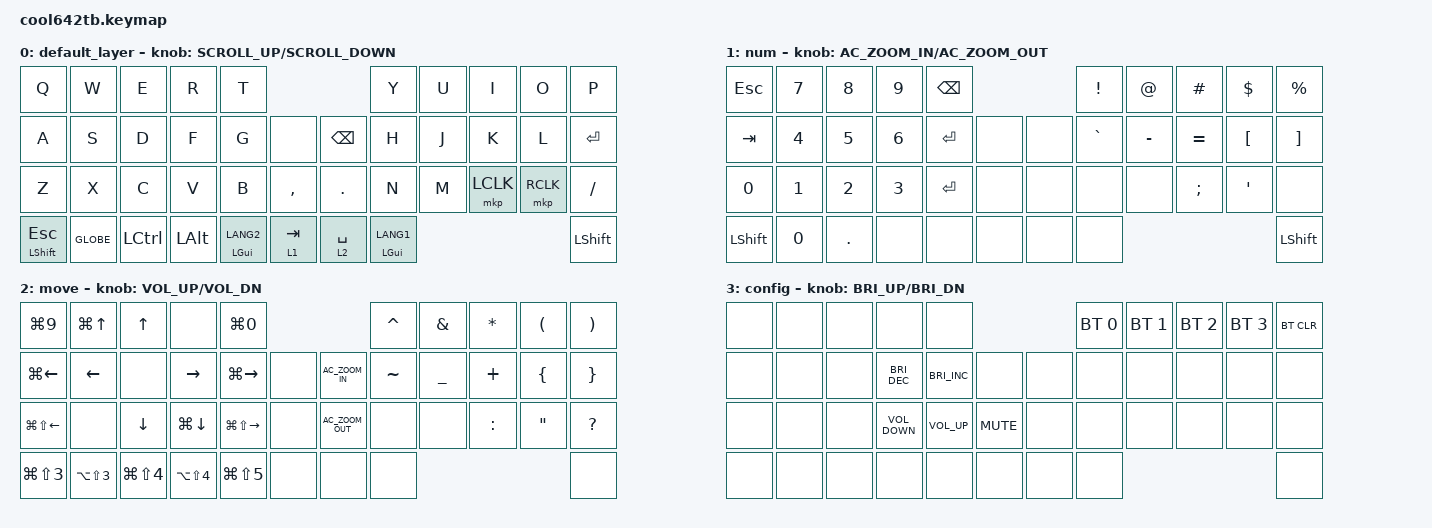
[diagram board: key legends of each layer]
#include <behaviors.dtsi>
#include <dt-bindings/zmk/bt.h>
#include <dt-bindings/zmk/keys.h>
#include <dt-bindings/zmk/pointing.h>

#define MOUSE 4
#define SCROLL 5
#define NUM 6

&mt {
    flavor = "balanced";
    quick-tap-ms = <0>;
};

/ {
    combos {
        compatible = "zmk,combos";

        hyphen {
            bindings = <&kp MINUS>;
            key-positions = <8 9>;
            layers = <0>;
        };

        conf_layer {
            bindings = <&mo 3>;
            key-positions = <39 40>;
            layers = <0>;
        };

        scroll {
            bindings = <&mo 2>;
            key-positions = <31 32>;
            layers = <0>;
        };
    };

    macros {
        to_layer_0: to_layer_0 {
            compatible = "zmk,behavior-macro-one-param";
            #binding-cells = <1>;
            bindings = <&to 0 &macro_param_1to1 &kp MACRO_PLACEHOLDER>;
            label = "TO_LAYER_0";
        };
    };

    behaviors {
        lt_to_layer_0: lt_to_layer_0 {
            compatible = "zmk,behavior-hold-tap";
            label = "LAYER_TAP_TO_0";
            bindings = <&mo>, <&to_layer_0>;

            #binding-cells = <2>;
            tapping-term-ms = <200>;
        };
    };

    keymap {
        compatible = "zmk,keymap";

        default_layer {
            bindings = <
&kp Q                  &kp W      &kp E             &kp R         &kp T                                         &kp Y               &kp U  &kp I      &kp O      &kp P
&kp A                  &kp S      &kp D             &kp F         &kp G               &none      &kp BACKSPACE  &kp H               &kp J  &kp K      &kp L      &kp ENTER
&kp Z                  &kp X      &kp C             &kp V         &kp B               &kp COMMA  &kp PERIOD     &kp N               &kp M  &mkp LCLK  &mkp RCLK  &kp SLASH
&mt LEFT_SHIFT ESCAPE  &kp GLOBE  &kp LEFT_CONTROL  &kp LEFT_ALT  &mt LEFT_GUI LANG2  &lt 1 TAB  &lt 2 SPACE    &mt LEFT_GUI LANG1                               &kp LEFT_SHIFT
            >;

            sensor-bindings = <&inc_dec_kp K_SCROLL_UP K_SCROLL_DOWN>;
        };

        num {
            bindings = <
&kp ESCAPE      &kp NUMBER_7  &kp NUMBER_8  &kp NUMBER_9  &kp BACKSPACE                &kp EXCLAMATION  &kp AT_SIGN  &kp HASH       &kp DOLLAR        &kp PERCENT
&kp TAB         &kp NUMBER_4  &kp N5        &kp NUMBER_6  &kp ENTER      &none  &none  &kp GRAVE        &kp MINUS    &kp EQUAL      &kp LEFT_BRACKET  &kp RIGHT_BRACKET
&kp N0          &kp NUMBER_1  &kp NUMBER_2  &kp NUMBER_3  &kp ENTER      &none  &none  &none            &none        &kp SEMICOLON  &kp SQT           &none
&kp LEFT_SHIFT  &kp NUMBER_0  &kp PERIOD    &none         &none          &none  &none  &none                                                          &kp LEFT_SHIFT
            >;

            sensor-bindings = <&inc_dec_kp C_AC_ZOOM_IN C_AC_ZOOM_OUT>;
        };

        move {
            bindings = <
&kp LG(N9)              &kp LG(UP_ARROW)      &kp UP_ARROW          &none                 &kp LG(N0)                                   &kp CARET  &kp AMPERSAND   &kp ASTERISK  &kp LEFT_PARENTHESIS  &kp RIGHT_PARENTHESIS
&kp LG(LEFT)            &kp LEFT_ARROW        &none                 &kp RIGHT             &kp LG(RIGHT)      &none  &kp C_AC_ZOOM_IN   &kp TILDE  &kp UNDERSCORE  &kp PLUS      &kp LEFT_BRACE        &kp RIGHT_BRACE
&kp LG(LS(LEFT_ARROW))  &none                 &kp DOWN              &kp LG(DOWN)          &kp LG(LS(RIGHT))  &none  &kp C_AC_ZOOM_OUT  &none      &none           &kp COLON     &kp DOUBLE_QUOTES     &kp QUESTION
&kp LG(LS(NUMBER_3))    &kp LA(LS(NUMBER_3))  &kp LG(LS(NUMBER_4))  &kp LA(LS(NUMBER_4))  &kp LG(LS(N5))     &none  &none              &none                                                          &none
            >;

            sensor-bindings = <&inc_dec_kp C_VOLUME_UP C_VOL_DN>;
        };

        config {
            bindings = <
&none  &none  &none  &none                 &none                                    &bt BT_SEL 0  &bt BT_SEL 1  &bt BT_SEL 2  &bt BT_SEL 3  &bt BT_CLR
&none  &none  &none  &kp C_BRIGHTNESS_DEC  &kp C_BRIGHTNESS_INC  &none       &none  &none         &none         &none         &none         &none
&none  &none  &none  &kp C_VOLUME_DOWN     &kp C_VOLUME_UP       &kp C_MUTE  &none  &none         &none         &none         &none         &none
&none  &none  &none  &none                 &none                 &none       &none  &none                                                   &none
            >;

            sensor-bindings = <&inc_dec_kp C_BRI_UP C_BRI_DN>;
        };
    };
};
